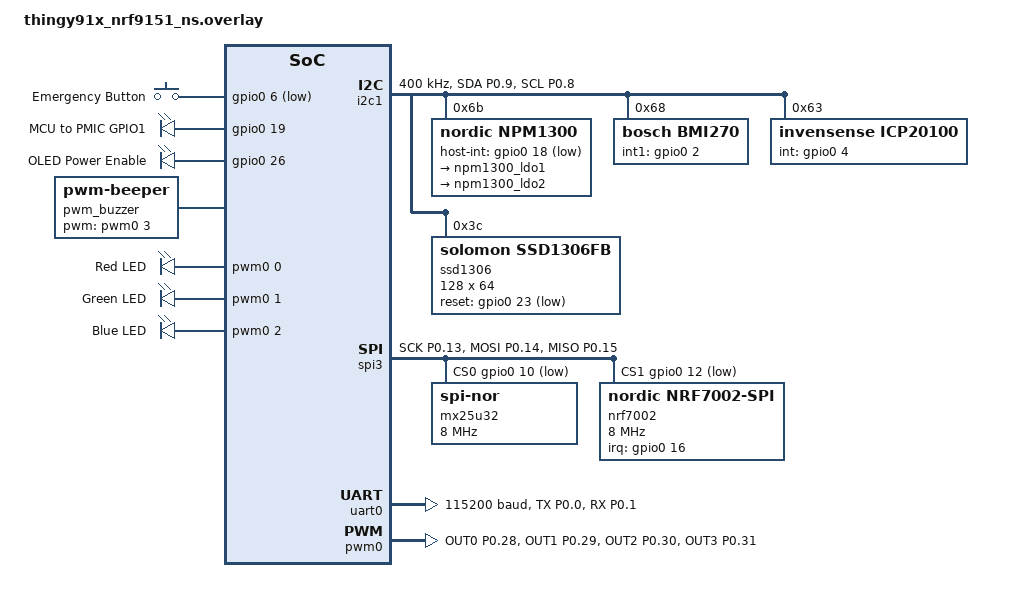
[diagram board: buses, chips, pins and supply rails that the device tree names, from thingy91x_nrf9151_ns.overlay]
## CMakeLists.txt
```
cmake_minimum_required(VERSION 3.20.0)

find_package(Zephyr REQUIRED HINTS $ENV{ZEPHYR_BASE})
project(bracelet_tracker)

# From your original: Include Zephyr net/ip headers
target_include_directories(app PUBLIC ${ZEPHYR_BASE}/subsys/net/ip)

# Our custom include directory for shared headers
zephyr_include_directories(src/include)


target_sources(app PRIVATE 
    src/main.c
    src/localization.c
    src/low_power_acl.c
    src/data_manager.c
    src/lte_service.c
)
```

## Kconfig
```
source "Kconfig.zephyr"

menu "Bracelet Tracker Settings"

config WIFI_MAC_ADDRESS
    string "WiFi MAC address"
    default "F6:CE:36:00:00:01"
    help
      Wi-Fi MAC address to be used by the sample. If not set, the sample will
      use the default MAC address (locally administrative). This is only used
      when the nRF7002 OTP is not programmed with a MAC address.

config WIFI_SCAN_INTERVAL_S
    int "Scan interval (seconds)"
    default 10
    help
      Specifies the scan interval in seconds.

config WIFI_SCAN_BANDS_LIST
    string "Frequency bands to scan"
    default "2" if WIFI_SCAN_PROFILE_2_4GHz_ACTIVE || WIFI_SCAN_PROFILE_2_4GHz_PASSIVE || WIFI_SCAN_PROFILE_2_4GHz_NON_OVERLAP_CHAN
    default "5" if WIFI_SCAN_PROFILE_5GHz_ACTIVE || WIFI_SCAN_PROFILE_5GHz_PASSIVE || WIFI_SCAN_PROFILE_5GHz_NON_DFS_CHAN
    default "2,5" if WIFI_SCAN_PROFILE_2_4GHz_NON_OVERLAP_AND_5GHz_NON_DFS_CHAN
    default ""
    help
      Specifies the frequency bands to scan.

config WIFI_SCAN_CHAN_LIST
    string "Channel list for scan"
    default "2:1,6,11" if WIFI_SCAN_PROFILE_2_4GHz_NON_OVERLAP_CHAN
    default "5:36,40,44,48,149,153,157,161,165" if WIFI_SCAN_PROFILE_5GHz_NON_DFS_CHAN
    default "2:1,6,11_5:36,40,44,48,149,153,157,161,165" if WIFI_SCAN_PROFILE_2_4GHz_NON_OVERLAP_AND_5GHz_NON_DFS_CHAN
    default ""
    help
      Specifies the list of channels used to perform scan.

config WIFI_SCAN_DWELL_TIME_ACTIVE
    int "Active scan dwell time"
    default 50
    range 5 1000

config WIFI_SCAN_DWELL_TIME_PASSIVE
    int "Passive scan dwell time"
    default 130
    range 10 1000

config WIFI_SCAN_TYPE_ACTIVE
    bool

config WIFI_SCAN_TYPE_PASSIVE
    bool

choice
    prompt "Choose a WiFi Scan Profile"

config WIFI_SCAN_PROFILE_DEFAULT
    bool "Scan in all bands and channels"

config WIFI_SCAN_PROFILE_ACTIVE
    bool "Active scan"
    select WIFI_SCAN_TYPE_ACTIVE

config WIFI_SCAN_PROFILE_PASSIVE
    bool "Passive scan"
    select WIFI_SCAN_TYPE_PASSIVE

config WIFI_SCAN_PROFILE_2_4GHz_ACTIVE
    bool "Scan in the 2.4 GHz band using active scan"
    select WIFI_SCAN_TYPE_ACTIVE

config WIFI_SCAN_PROFILE_2_4GHz_PASSIVE
    bool "Scan in the 2.4 GHz band using passive scan"
    select WIFI_SCAN_TYPE_PASSIVE

config WIFI_SCAN_PROFILE_5GHz_ACTIVE
    bool "Scan in the 5 GHz band using active scan"
    select WIFI_SCAN_TYPE_ACTIVE

config WIFI_SCAN_PROFILE_5GHz_PASSIVE
    bool "Scan in the 5 GHz band using passive scan"
    select WIFI_SCAN_TYPE_PASSIVE

config WIFI_SCAN_PROFILE_2_4GHz_NON_OVERLAP_CHAN
    bool "Scan only non-overlapping channels"

config WIFI_SCAN_PROFILE_5GHz_NON_DFS_CHAN
    bool "Scan only non-DFS channels"

config WIFI_SCAN_PROFILE_2_4GHz_NON_OVERLAP_AND_5GHz_NON_DFS_CHAN
    bool "Scan only non-overlapping and non-DFS channels"

endchoice

endmenu


menu "Communication with MQTT broker"

config MQTT_BOOTSTRAP_SECURITY_CODE
    string "MQTT bootstrap security code"
    default "987654"
    help
        Security code sent in the first MQTT message after the initial connect.

config MQTT_BOOTSTRAP_BATTERY
    int "MQTT bootstrap battery percentage"
    default 95
    range 0 100
    help
        Battery percentage sent in the first MQTT message after the initial connect.

config MQTT_PUB_TOPIC
    string "MQTT publish topic"
    default "bracelet/prototype_1/data" 
    help
        The prototype_1 will be replaced by a unique ID later.

config MQTT_SUB_TOPIC
    string "MQTT subscribe topic"
    default "bracelet/prototype_1/response"
    help
        Topic this device subscribes to in order to receive responses.

config MQTT_BROKER_HOSTNAME
    string "MQTT broker Azure Bracelet Server"
    default "20.251.201.46"


endmenu
```

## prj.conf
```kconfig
# ==========================================================
# SYSTEM, KERNEL & MEMORIES
# ==========================================================
CONFIG_HEAP_MEM_POOL_SIZE=81920         
CONFIG_MAIN_STACK_SIZE=8192
CONFIG_SYSTEM_WORKQUEUE_STACK_SIZE=8192 
CONFIG_EVENTS=y

# ==========================================================
# CONSOLE & LOGGING
# ==========================================================
CONFIG_SERIAL=y
CONFIG_CONSOLE=y
CONFIG_UART_CONSOLE=y
CONFIG_STDOUT_CONSOLE=y
CONFIG_PRINTK=y
CONFIG_LOG=y
CONFIG_LOG_MODE_IMMEDIATE=y

# Float printf for GNSS coordinate logging (picolibc is default on NCS v3.0.0)
CONFIG_PICOLIBC_IO_FLOAT=y

# ==========================================================
# ADXL367 HARDWARE ACTIVITY DETECTION
# ==========================================================
CONFIG_I2C=y
CONFIG_SENSOR=y
CONFIG_ADXL367=y
CONFIG_SENSOR_ASYNC_API=y
CONFIG_ADXL367_TRIGGER_GLOBAL_THREAD=y

CONFIG_ADXL367_ACTIVITY_DETECTION_MODE=y
CONFIG_ADXL367_INACTIVITY_DETECTION_MODE=n
CONFIG_ADXL367_ACTIVITY_THRESHOLD=50
CONFIG_ADXL367_ACTIVITY_TIME=10

# ==========================================================
# WI-FI & NATIVE NETWORKING STACK
# ==========================================================
CONFIG_SPI=y
CONFIG_WIFI=y
CONFIG_WIFI_NRF70=y
CONFIG_NET_L2_WIFI_MGMT=y

CONFIG_NETWORKING=y
CONFIG_NET_NATIVE=y
CONFIG_NET_L2_ETHERNET=y
CONFIG_NET_L2_ETHERNET_MGMT=y
CONFIG_NET_MGMT=y
CONFIG_NET_MGMT_EVENT_STACK_SIZE=4096

CONFIG_NET_PKT_RX_COUNT=10
CONFIG_NET_PKT_TX_COUNT=10
CONFIG_NET_BUF_RX_COUNT=20
CONFIG_NET_BUF_TX_COUNT=20

CONFIG_WIFI_SCAN_BANDS_LIST="2,5"
CONFIG_WIFI_SCAN_INTERVAL_S=15

# ==========================================================
# LTE MODEM & SOCKET OFFLOADING 
# ==========================================================
CONFIG_NRF_MODEM_LIB=y
CONFIG_LTE_LINK_CONTROL=y
CONFIG_LTE_NETWORK_MODE_LTE_M_NBIOT_GPS=y
# Trying to avoid the conexa sim card getting banned:
CONFIG_PDN=y
CONFIG_PDN_DEFAULTS_OVERRIDE=y
CONFIG_PDN_DEFAULT_APN="flolive.net"

# GNSS support
CONFIG_MODEM_INFO=y

CONFIG_NET_SOCKETS=y
CONFIG_POSIX_API=y
CONFIG_NET_SOCKETS_OFFLOAD=y
CONFIG_MODEM_ANTENNA_GNSS_EXTERNAL=y


# ==========================================================
# MQTT HELPER 
# ==========================================================
CONFIG_MQTT_HELPER=y
CONFIG_MQTT_CLEAN_SESSION=y
# Needed because mqtt runs on TCP and we need to send heartbeat, must be not extremly rare so that the lte carrier doesn't drop our tcp connection
CONFIG_MQTT_KEEPALIVE=1200

# ==========================================================
# DIAGNOSTICS: LOGGING SETTINGS
# ==========================================================
CONFIG_NET_LOG=y
CONFIG_WIFI_LOG_LEVEL_INF=y
CONFIG_WIFI_NRF70_LOG_LEVEL_INF=y
```

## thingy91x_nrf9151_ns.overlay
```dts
&pinctrl {
    /* UART0: TX=P0.00, RX=P0.01 */
    uart0_default: uart0_default {
        group1 {
            psels = <NRF_PSEL(UART_TX, 0, 0)>,
                    <NRF_PSEL(UART_RX, 0, 1)>;
        };
    };

    /* I2C: SCL=P0.08, SDA=P0.09 */
    i2c1_default: i2c1_default {
        group1 {
            psels = <NRF_PSEL(TWIM_SDA, 0, 9)>,
                    <NRF_PSEL(TWIM_SCL, 0, 8)>;
        };
    };

    /* SPI: SCK=P0.13, MOSI=P0.14, MISO=P0.15 */
    spi3_default: spi3_default {
        group1 {
            psels = <NRF_PSEL(SPIM_SCK, 0, 13)>,
                    <NRF_PSEL(SPIM_MOSI, 0, 14)>,
                    <NRF_PSEL(SPIM_MISO, 0, 15)>;
        };
    };

    /* PWM for RGB LED & Buzzer */
    pwm0_default: pwm0_default {
        group1 {
            /* RED=P0.28, GREEN=P0.29, BLUE=P0.30, BUZZER=P0.31 */
            psels = <NRF_PSEL(PWM_OUT0, 0, 28)>,
                    <NRF_PSEL(PWM_OUT1, 0, 29)>,
                    <NRF_PSEL(PWM_OUT2, 0, 30)>,
                    <NRF_PSEL(PWM_OUT3, 0, 31)>;
        };
    };
};

&i2c1 {
    status = "okay";
    pinctrl-0 = <&i2c1_default>;
    pinctrl-names = "default";
    clock-frequency = <I2C_BITRATE_FAST>;

    /* nPM1300 PMIC */
    npm1300: pmic@6b {
        compatible = "nordic,npm1300";
        reg = <0x6b>;
        
        /* MCU P0.18 is wired to PMIC GPIO0. This acts as the Host Interrupt */
        host-int-gpios = <&gpio0 18 (GPIO_ACTIVE_LOW | GPIO_PULL_UP)>;
        
        npm1300_regulators: regulators {
            compatible = "nordic,npm1300-regulator";
            
            /* LSOUT1 (Pin 29) powers the Wi-Fi Enable */
            npm1300_ldo1: LDO1 {
                regulator-name = "nRF7002_ENABLE";
            };
            
            /* LSOUT2 (Pin 31) powers the BMI270 IMU */
            npm1300_ldo2: LDO2 {
                regulator-name = "VIN_BMI270";
            };
        };
    };

    /* Bosch BMI270 IMU */
    bmi270: bmi270@68 {
        compatible = "bosch,bmi270";
        reg = <0x68>;
        int1-gpios = <&gpio0 2 GPIO_ACTIVE_HIGH>; 
    };

    /* TDK Barometer */
    icp20100: icp20100@63 {
        compatible = "invensense,icp20100";
        reg = <0x63>; 
        int-gpios = <&gpio0 4 GPIO_ACTIVE_HIGH>;
    };

    /* OLED Display */
    ssd1306: ssd1306@3c {
        compatible = "solomon,ssd1306fb";
        reg = <0x3c>; 
        width = <128>;
        height = <64>;
        segment-offset = <0>;
        page-offset = <0>;
        display-offset = <0>;
        multiplex-ratio = <63>;
        prechargep = <0x22>;
        reset-gpios = <&gpio0 23 GPIO_ACTIVE_LOW>; 
    };
};

&spi3 {
    status = "okay";
    pinctrl-0 = <&spi3_default>;
    pinctrl-names = "default";
    
    cs-gpios = <&gpio0 10 GPIO_ACTIVE_LOW>,
               <&gpio0 12 GPIO_ACTIVE_LOW>;

    /* NOR Flash (32Mb) */
    mx25u32: flash@0 {
        compatible = "jedec,spi-nor";
        reg = <0>; 
        spi-max-frequency = <8000000>;
        size = <33554432>;
        jedec-id = [c2 25 36];
    };
    
    /* Wi-Fi Companion (nRF7002) */
    nrf7002: wifi@1 {
        compatible = "nordic,nrf7002-spi";
        reg = <1>; 
        /* bucken-gpios removed: Wi-Fi enable is handled by PMIC LDO1 */
        irq-gpios = <&gpio0 16 GPIO_ACTIVE_HIGH>;
        spi-max-frequency = <8000000>;
    };
};

/ {
    aliases {
        sw0 = &button_em;
        buzzer = &pwm_buzzer;
        led0 = &led_red;
        led1 = &led_green;
        led2 = &led_blue;
        pmic-gpio1 = &mcu_to_pmic_gpio1;
    };

    buttons {
        compatible = "gpio-keys";
        button_em: button_0 {
            gpios = <&gpio0 6 (GPIO_PULL_UP | GPIO_ACTIVE_LOW)>;
            label = "Emergency Button";
        };
    };

    /* Custom Routing */
    custom_gpios {
        compatible = "gpio-leds"; 
        
        /* MCU P0.19 wired to PMIC GPIO1 */
        mcu_to_pmic_gpio1: mcu_to_pmic_gpio1 {
            gpios = <&gpio0 19 GPIO_ACTIVE_HIGH>;
            label = "MCU to PMIC GPIO1";
        };
    };

    /* Display Power Control Pin */
    display_ctrl {
        compatible = "gpio-leds"; 
        disp_power_en: disp_power_en {
            gpios = <&gpio0 26 GPIO_ACTIVE_HIGH>; 
            label = "OLED Power Enable";
        };
    };

    /* Buzzer PWM routing */
    pwm_buzzer: pwm_buzzer {
        compatible = "pwm-beeper";
        pwms = <&pwm0 3 PWM_HZ(4000) PWM_POLARITY_NORMAL>; 
    };

    pwmleds {
        compatible = "pwm-leds";
        led_red: led_pwm_0 {
            pwms = <&pwm0 0 PWM_MSEC(20) PWM_POLARITY_NORMAL>;
            label = "Red LED";
        };
        led_green: led_pwm_1 {
            pwms = <&pwm0 1 PWM_MSEC(20) PWM_POLARITY_NORMAL>;
            label = "Green LED";
        };
        led_blue: led_pwm_2 {
            pwms = <&pwm0 2 PWM_MSEC(20) PWM_POLARITY_NORMAL>;
            label = "Blue LED";
        };
    };
};

/* Enable UART0 */
&uart0 {
    status = "okay";
    pinctrl-0 = <&uart0_default>;
    pinctrl-names = "default";
    current-speed = <115200>;
};

/* Enable PWM0 */
&pwm0 {
    status = "okay";
    pinctrl-0 = <&pwm0_default>;
    pinctrl-names = "default";
};
```

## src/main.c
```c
#include <zephyr/kernel.h>
#include <zephyr/logging/log.h>
#include <stdio.h>
#include <string.h>

#include "data_manager.h"
#include "lte_service.h" 

LOG_MODULE_REGISTER(main_app, LOG_LEVEL_INF);

extern int low_power_acl_init(void);

int main(void)
{
    LOG_INF("=== Bracelet Tracker Booting ===");
    
    if (lte_mqtt_init() != 0) {
        LOG_ERR("LTE/MQTT Initialization failed! Halting.");
        return -1;
    }

    if (low_power_acl_init() != 0) {
        LOG_ERR("Interrupt setup failed!");
    } else {
        LOG_INF("Interrupt setup SUCCESSFUL! Waiting for movement...");
    }

    struct location_msg_t rx_msg;
    char json_payload[1024]; 

    while (1) {
        if (k_msgq_get(&location_queue, &rx_msg, K_FOREVER) == 0) {
            memset(json_payload, 0, sizeof(json_payload));
            
            if (rx_msg.type == LOC_TYPE_WIFI) {
                int offset = snprintf(json_payload, sizeof(json_payload), "{\"wifi\":{\"accessPoints\":[");
                for (int i = 0; i < rx_msg.data.wifi.count; i++) {
                    const char *comma = (i == rx_msg.data.wifi.count - 1) ? "" : ",";
                    offset += snprintf(json_payload + offset, sizeof(json_payload) - offset,
                                       "{\"macAddress\":\"%s\",\"signalStrength\":%d}%s",
                                       rx_msg.data.wifi.aps[i].mac, rx_msg.data.wifi.aps[i].rssi, comma);
                }
                snprintf(json_payload + offset, sizeof(json_payload) - offset, "]}}");
            } 
            else if (rx_msg.type == LOC_TYPE_GNSS) {
                snprintf(json_payload, sizeof(json_payload), 
                         "{\"gnss\":{\"lat\":%.6f,\"lng\":%.6f,\"acc\":%.1f}}",
                         rx_msg.data.gnss.lat, rx_msg.data.gnss.lon, rx_msg.data.gnss.accuracy);
            }
            else if (rx_msg.type == LOC_TYPE_CELL) {
                snprintf(json_payload, sizeof(json_payload),
                         "{\"lte\":{\"mcc\":%d,\"mnc\":%d,\"cellId\":%d,\"areaCode\":%d}}",
                         rx_msg.data.cell.mcc, rx_msg.data.cell.mnc, 
                         rx_msg.data.cell.cell_id, rx_msg.data.cell.area_code);
            }

            //LOG_INF("Publishing Location Payload: %s", json_payload);
            lte_mqtt_publish_str(json_payload);
        }
    }
    return 0;
}
```

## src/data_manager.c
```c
#include <zephyr/kernel.h>
#include <zephyr/logging/log.h>
#include <string.h>

#include "data_manager.h"

LOG_MODULE_REGISTER(data_manager, LOG_LEVEL_INF);

/* Generic location queue for Wi-Fi, GNSS, or Cell data */
K_MSGQ_DEFINE(location_queue, sizeof(struct location_msg_t), 5, 4);

void data_manager_send_wifi(struct ap_data_t *aps, uint8_t count)
{
    struct location_msg_t msg;

    msg.type = LOC_TYPE_WIFI;
    msg.data.wifi.count = count;

    for (int i = 0; i < count; i++) {
        strncpy(msg.data.wifi.aps[i].mac, aps[i].mac, sizeof(msg.data.wifi.aps[i].mac) - 1);
        msg.data.wifi.aps[i].mac[sizeof(msg.data.wifi.aps[i].mac) - 1] = '\0';
        msg.data.wifi.aps[i].rssi = aps[i].rssi;
    }

    if (k_msgq_put(&location_queue, &msg, K_NO_WAIT) != 0) {
        LOG_WRN("Location queue full! Dropping Wi-Fi data.");
    }
}

void data_manager_send_gnss(double lat, double lon, float accuracy)
{
    struct location_msg_t msg;
    
    msg.type = LOC_TYPE_GNSS;
    msg.data.gnss.lat = lat;
    msg.data.gnss.lon = lon;
    msg.data.gnss.accuracy = accuracy;

    if (k_msgq_put(&location_queue, &msg, K_NO_WAIT) != 0) {
        LOG_WRN("Location queue full! Dropping GNSS data.");
    }
}

void data_manager_send_cell(uint16_t mcc, uint16_t mnc, uint32_t cell_id, uint16_t area_code)
{
    struct location_msg_t msg;

    msg.type = LOC_TYPE_CELL;
    msg.data.cell.mcc = mcc;
    msg.data.cell.mnc = mnc;
    msg.data.cell.cell_id = cell_id;
    msg.data.cell.area_code = area_code;

    if (k_msgq_put(&location_queue, &msg, K_NO_WAIT) != 0) {
        LOG_WRN("Location queue full! Dropping Cell data.");
    }
}
```

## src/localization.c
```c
#include <zephyr/kernel.h>
#include <zephyr/logging/log.h>
#include <zephyr/net/net_if.h>
#include <zephyr/net/wifi_mgmt.h>
#include <nrf_modem_gnss.h>
#include <modem/modem_info.h>
#include <modem/lte_lc.h>
#include <stdio.h>
#include <string.h>

#include <stdlib.h>

#include "app_events.h"
#include "data_manager.h"

LOG_MODULE_REGISTER(localization, LOG_LEVEL_INF);

/* Synchronization primitives */
static K_SEM_DEFINE(wifi_scan_sem, 0, 1);
static K_SEM_DEFINE(gnss_fix_sem, 0, 1);

/* Wi-Fi scan results storage */
static struct ap_data_t best_aps[MAX_APS_PER_SCAN];
static uint8_t current_ap_count = 0;

/* GNSS storage */
static struct nrf_modem_gnss_pvt_data_frame last_pvt;
static bool gnss_has_fix = false;

/* --- WiFi Handlers --- */
static void handle_wifi_scan_result(struct net_mgmt_event_callback *cb)
{
    const struct wifi_scan_result *entry = (const struct wifi_scan_result *)cb->info;
    char mac_string_buf[18];

    snprintf(mac_string_buf, sizeof(mac_string_buf), "%02X:%02X:%02X:%02X:%02X:%02X",
             entry->mac[0], entry->mac[1], entry->mac[2], 
             entry->mac[3], entry->mac[4], entry->mac[5]);

    for (int i = 0; i < current_ap_count; i++) {
        if (strcmp(best_aps[i].mac, mac_string_buf) == 0) return;
    }

    if (current_ap_count < MAX_APS_PER_SCAN) {
        strcpy(best_aps[current_ap_count].mac, mac_string_buf);
        best_aps[current_ap_count].rssi = entry->rssi;
        current_ap_count++;
    } else {
        int weakest_idx = 0;
        for (int i = 1; i < MAX_APS_PER_SCAN; i++) {
            if (best_aps[i].rssi < best_aps[weakest_idx].rssi) weakest_idx = i;
        }
        if (entry->rssi > best_aps[weakest_idx].rssi) {
            strcpy(best_aps[weakest_idx].mac, mac_string_buf);
            best_aps[weakest_idx].rssi = entry->rssi;
        }
    }
}

static void handle_wifi_scan_done(struct net_mgmt_event_callback *cb)
{
    k_sem_give(&wifi_scan_sem);
}

static void wifi_mgmt_event_handler(struct net_mgmt_event_callback *cb, uint32_t mgmt_event, struct net_if *iface)
{
    if (mgmt_event == NET_EVENT_WIFI_SCAN_RESULT) {
        handle_wifi_scan_result(cb);
    } else if (mgmt_event == NET_EVENT_WIFI_SCAN_DONE) {
        handle_wifi_scan_done(cb);
    }
}

/* --- GNSS Handler --- */
/* GNSS event handler — called by the modem on every GNSS event */
static void gnss_event_handler(int event)
{
    switch (event) {

    case NRF_MODEM_GNSS_EVT_PVT:
        /* Read the latest PVT data from the modem into our buffer */
        if (nrf_modem_gnss_read(&last_pvt, sizeof(last_pvt), NRF_MODEM_GNSS_DATA_PVT) != 0) {
            LOG_ERR("Failed to read GNSS PVT data");
            return;
        }

        /* Count visible satellites and log their signal strength (CN0) */
        int svs_tracked = 0;
        for (int i = 0; i < NRF_MODEM_GNSS_MAX_SATELLITES; i++) {
            /* signal != 0 means this slot contains a real satellite */
            if (last_pvt.sv[i].signal != 0) {
                LOG_INF("  SV: %2d | CN0: %4.1f dB-Hz | Signal type: %d",
                        last_pvt.sv[i].sv,
                        last_pvt.sv[i].cn0 * 0.1,   /* CN0 is stored as tenths of dB-Hz */
                        last_pvt.sv[i].signal);
                svs_tracked++;
            }
        }
        LOG_INF("Satellites tracked: %d (need 4+ for a fix)", svs_tracked);

        /* Check if the modem has computed a valid position fix */
        if (last_pvt.flags & NRF_MODEM_GNSS_PVT_FLAG_FIX_VALID) {
            LOG_INF(">>> FIX ACQUIRED! Lat: %.6f, Lon: %.6f, Acc: %.1f m",
                    last_pvt.latitude,
                    last_pvt.longitude,
                    (double)last_pvt.accuracy);
            gnss_has_fix = true;
            /* Unblock the do_gnss_fix() thread that is waiting on this semaphore */
            k_sem_give(&gnss_fix_sem);
        }
        break;

    default:
        LOG_WRN("GNSS Event: Unknown event id %d", event);
        break;
    }
}

/* 
    WI-FI Scannning process starts here, takes a semaphore that is released 
    once the module confirms through a message the process succeeded in the handle_wifi_scan_done
*/
static int do_wifi_scan(void)
{
    struct net_if *iface = net_if_get_default();
    if (!iface) return -ENOENT;

    current_ap_count = 0;
    struct wifi_scan_params params = { .scan_type = WIFI_SCAN_TYPE_ACTIVE, .dwell_time_active = 50 };

    if (net_mgmt(NET_REQUEST_WIFI_SCAN, iface, &params, sizeof(params))) {
        return -EIO;
    }

    k_sem_take(&wifi_scan_sem, K_SECONDS(10));
    return current_ap_count;
}

/* 
    GNSS fix process starts here. 
*/
static int do_gnss_fix(void)
{
    gnss_has_fix = false;
    nrf_modem_gnss_event_handler_set(gnss_event_handler);

    /* Power down Wi-Fi before GNSS — RF interference degrades signal */
    struct net_if *wifi_iface = net_if_get_default();
    if (wifi_iface) {
        net_if_down(wifi_iface);
    }

    /* Deactivate LTE so GNSS can have the RF front-end */
    if (lte_lc_func_mode_set(LTE_LC_FUNC_MODE_DEACTIVATE_LTE) != 0) {
        LOG_ERR("Failed to deactivate LTE");
        return -EIO;
    }

    /* EXPLICITLY activate GNSS */
    if (lte_lc_func_mode_set(LTE_LC_FUNC_MODE_ACTIVATE_GNSS) != 0) {
        LOG_ERR("Failed to activate GNSS functional mode");
        return -EIO;
    }

    nrf_modem_gnss_fix_interval_set(0);    // single-fix mode
    nrf_modem_gnss_fix_retry_set(180);     // 180s hardware timeout

    if (nrf_modem_gnss_start() != 0) {
        LOG_ERR("Failed to start GNSS");
        return -EIO;
    }

    LOG_INF("GNSS started, searching for fix...");

    int res = k_sem_take(&gnss_fix_sem, K_SECONDS(180));

    nrf_modem_gnss_stop();

    /* Deactivate GNSS cleanly before restoring LTE */
    lte_lc_func_mode_set(LTE_LC_FUNC_MODE_DEACTIVATE_GNSS);

    /* Restore LTE */
    lte_lc_func_mode_set(LTE_LC_FUNC_MODE_NORMAL);

    /* Restore Wi-Fi */
    if (wifi_iface) {
        net_if_up(wifi_iface);
    }

    return (res == 0) ? 0 : -ETIMEDOUT;
}

/*
    Last-Resort we can approximate location with LTE cell towers. (if gnss cannot find a fix in 180 seconds)
*/
static void do_lte_cell_id(void)
{
    struct modem_param_info modem_param = {0};  // storage for modem internal parameters
    modem_info_init();                          // initialize the modem info library
    modem_info_params_init(&modem_param);       // Initialize the parameter structure
    modem_info_params_get(&modem_param);        // Ask modem for network status tokens

    // The collected tower id's will be sent to cloud: MCC = Country Code, MNC = Network Code, cellid and area_code
    char *cellid_str = modem_param.network.cellid_hex.value_string;
    uint32_t cell_id_val = (cellid_str != NULL && strlen(cellid_str) > 0) ? strtol(cellid_str, NULL, 16) : 0;

    data_manager_send_cell(modem_param.network.mcc.value, 
                           modem_param.network.mnc.value, 
                           cell_id_val, 
                           modem_param.network.area_code.value);
}

void localization_thread(void *p1, void *p2, void *p3)
{
    static struct net_mgmt_event_callback wifi_cb;                  // registers a Wi-Fi callback so we can collect the wi fi scan results
    
    net_mgmt_init_event_callback(&wifi_cb, wifi_mgmt_event_handler, 
                                 NET_EVENT_WIFI_SCAN_RESULT | NET_EVENT_WIFI_SCAN_DONE);
    net_mgmt_add_event_callback(&wifi_cb);

    LOG_INF("Integrated Localization Thread Started");

    while (1) {
        k_event_wait(&app_events, EVENT_USER_MOVING, false, K_FOREVER); // Block here until the user is moving 
        
        LOG_INF("Motion detected! Starting localization waterfall...");

        /* 1. Try Wi-Fi */
        int aps = do_wifi_scan();
        if (aps >= 5) {           // Enough to make the wi fi scan worth trying 
            LOG_INF("Wi-Fi sufficient (%d APs). Sending...", aps);
            int  retries = 2;      
            bool wifi_resolved = false;  // true when the server actually processes and responds
            bool wifi_successful = false; // true when the server confirms it worked

            while (retries > 0 && !wifi_resolved) {
                /* Clear any stale server response bits from previous runs */
                k_event_clear(&app_events,
                              EVENT_SERVER_WIFI_SUCCESS | EVENT_SERVER_WIFI_FAIL);

                data_manager_send_wifi(best_aps, aps);

                /* Block up to 10 seconds waiting for the server’s verdict.
                 * The LTE/MQTT layer will set EVENT_SERVER_WIFI_SUCCESS or
                 * EVENT_SERVER_WIFI_FAIL when it receives "wifi_successful"
                 * or "wifi_failed" on the subscribed topic.
                 */
                uint32_t events = k_event_wait(
                    &app_events,
                    EVENT_SERVER_WIFI_SUCCESS | EVENT_SERVER_WIFI_FAIL,
                    false,
                    K_SECONDS(10));

                if (events & EVENT_SERVER_WIFI_SUCCESS) {
                    wifi_successful = true;
                    wifi_resolved   = true;
                } else if (events & EVENT_SERVER_WIFI_FAIL) {
                    wifi_successful = false;
                    wifi_resolved   = true;
                } else {
                    /* Timeout: no response within 10 seconds */
                    retries--;
                    if (retries > 0) {
                        LOG_INF("Server response timeout. Retrying Wi-Fi send...");
                    }
                }
            }

            if (wifi_successful) {
                LOG_INF("Server confirmed Wi-Fi localization -> Ending pipeline.");
            } else {
            LOG_INF("Wi-Fi failed or timed out, attempting GNSS...");
            
            /* 2. Try GNSS */
            if (do_gnss_fix() == 0) {
                LOG_INF("GNSS Fix obtained!");
                data_manager_send_gnss(last_pvt.latitude, last_pvt.longitude, last_pvt.accuracy);
            } else {
                LOG_INF("GNSS Timeout. Falling back to LTE Cell ID...");
                
                /* 3. Try LTE Cell ID */
                do_lte_cell_id();
            }
        }
    }

        k_sleep(K_SECONDS(30)); /* Cooldown */
    }
}

K_THREAD_DEFINE(loc_thread_id, 4096, localization_thread, NULL, NULL, NULL, 7, 0, 0);
```

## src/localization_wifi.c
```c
#include <zephyr/kernel.h>
#include <zephyr/logging/log.h>
#include <zephyr/net/net_if.h>
#include <zephyr/net/net_core.h>
#include <zephyr/net/wifi_mgmt.h>
#include <stdio.h>
#include <string.h>

#include "app_events.h"    
#include "data_manager.h"  

LOG_MODULE_REGISTER(wifi_module, LOG_LEVEL_INF);

static struct net_mgmt_event_callback wifi_mgmt_cb;
static K_SEM_DEFINE(scan_sem, 0, 1);

/* Buffer for our Top 10 strongest networks */
static struct ap_data_t best_aps[MAX_APS_PER_SCAN];
static uint8_t current_ap_count = 0;

static void handle_wifi_scan_result(struct net_mgmt_event_callback *cb)
{
    const struct wifi_scan_result *entry = (const struct wifi_scan_result *)cb->info;
    char mac_string_buf[18];

    /* Format MAC address safely */
    snprintf(mac_string_buf, sizeof(mac_string_buf), "%02X:%02X:%02X:%02X:%02X:%02X",
             entry->mac[0], entry->mac[1], entry->mac[2], 
             entry->mac[3], entry->mac[4], entry->mac[5]);

    /* Check if we already have this exact MAC address (rare, but good to filter) */
    for (int i = 0; i < current_ap_count; i++) {
        if (strcmp(best_aps[i].mac, mac_string_buf) == 0) {
            return; 
        }
    }

    /* If array isn't full, just add it */
    if (current_ap_count < MAX_APS_PER_SCAN) {
        strcpy(best_aps[current_ap_count].mac, mac_string_buf);
        best_aps[current_ap_count].rssi = entry->rssi;
        current_ap_count++;
    } 
    /* If array is full, find the weakest network and replace it if this one is stronger */
    else {
        int weakest_idx = 0;
        for (int i = 1; i < MAX_APS_PER_SCAN; i++) {
            if (best_aps[i].rssi < best_aps[weakest_idx].rssi) {
                weakest_idx = i;
            }
        }
        if (entry->rssi > best_aps[weakest_idx].rssi) {
            strcpy(best_aps[weakest_idx].mac, mac_string_buf);
            best_aps[weakest_idx].rssi = entry->rssi;
        }
    }
}

static void handle_wifi_scan_done(struct net_mgmt_event_callback *cb)
{
    LOG_INF("Scan complete! Sending top %d networks to cloud...", current_ap_count);
    
    if (current_ap_count > 0) {
        data_manager_send_wifi_batch(best_aps, current_ap_count);
    }
    
    k_sem_give(&scan_sem);
}

static void wifi_mgmt_event_handler(struct net_mgmt_event_callback *cb, uint64_t mgmt_event, struct net_if *iface)
{
    if (mgmt_event == NET_EVENT_WIFI_SCAN_RESULT) {
        handle_wifi_scan_result(cb);
    } else if (mgmt_event == NET_EVENT_WIFI_SCAN_DONE) {
        handle_wifi_scan_done(cb);
    }
}

static int wifi_scan(void)
{
    struct net_if *iface = net_if_get_default();
    if (!iface) iface = net_if_get_first_by_type(&NET_L2_GET_NAME(ETHERNET));
    if (!iface) iface = net_if_get_by_index(1); 

    if (!iface) {
        LOG_ERR("WiFi interface not found!");
        return -ENOENT;
    }

    if (!net_if_is_up(iface)) {
        net_if_up(iface);
        k_sleep(K_MSEC(500)); 
    }

    struct wifi_scan_params params = { 0 };
    params.scan_type = WIFI_SCAN_TYPE_ACTIVE;
    params.dwell_time_active = 50;  

    /* CRITICAL: Reset the counter before starting a new scan! */
    current_ap_count = 0;

    LOG_INF("Starting WiFi scan...");
    if (net_mgmt(NET_REQUEST_WIFI_SCAN, iface, &params, sizeof(struct wifi_scan_params))) {
        LOG_ERR("WiFi scan request failed");
        return -ENOEXEC;
    }

    k_sem_take(&scan_sem, K_FOREVER);
    return 0;
}

void wifi_thread_entry(void *p1, void *p2, void *p3)
{
    LOG_INF("WiFi Scanner Thread Initialized");

    net_mgmt_init_event_callback(&wifi_mgmt_cb, wifi_mgmt_event_handler, 
                                 NET_EVENT_WIFI_SCAN_RESULT | NET_EVENT_WIFI_SCAN_DONE);
    net_mgmt_add_event_callback(&wifi_mgmt_cb);

    while (1) {
        k_event_wait(&app_events, EVENT_USER_MOVING, false, K_FOREVER);
        wifi_scan();
        k_sleep(K_SECONDS(10));
    }
}

K_THREAD_DEFINE(wifi_thread_id, 2048, wifi_thread_entry, NULL, NULL, NULL, 6, 0, 0);
```

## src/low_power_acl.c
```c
#include <zephyr/kernel.h>
#include <zephyr/device.h>
#include <zephyr/drivers/sensor.h>
#include <zephyr/logging/log.h>

#include "app_events.h"

LOG_MODULE_REGISTER(low_power_acl, LOG_LEVEL_INF);

/* The global event object that the WiFi thread listens to */
K_EVENT_DEFINE(app_events);

#define INACTIVITY_TIMEOUT_S 30

static void inactivity_timer_handler(struct k_timer *timer_id);
K_TIMER_DEFINE(inactivity_timer, inactivity_timer_handler, NULL);

/* CRITICAL FIX: The trigger struct MUST be static so it survives in memory forever! */
static struct sensor_trigger trig;

/* 1. Timer expires -> User is asleep -> Clear flag */
static void inactivity_timer_handler(struct k_timer *timer_id)
{
    LOG_INF("No movement for %d seconds. System going to sleep...", INACTIVITY_TIMEOUT_S);
    k_event_clear(&app_events, EVENT_USER_MOVING);
}

/* 2. Hardware interrupt fires -> User is moving -> Set flag */
static void adxl367_trigger_handler(const struct device *dev, const struct sensor_trigger *trigger)
{
    /* Since we fixed the memory pointer, we don't even need to check the trigger type. 
     * If this function runs, we know the ADXL367 physical pin fired! 
     */
    uint32_t current_state = k_event_test(&app_events, EVENT_USER_MOVING);

    /* If the system was asleep, wake it up! */
    if ((current_state & EVENT_USER_MOVING) == 0) {
        LOG_INF("Movement detected! Waking system...");
        k_event_post(&app_events, EVENT_USER_MOVING);
    }

    /* Every time we move, reset the 30-second sleep timer */
    k_timer_start(&inactivity_timer, K_SECONDS(INACTIVITY_TIMEOUT_S), K_NO_WAIT);
}

/* 3. Setup function called by main.c */
int low_power_acl_init(void)
{
    const struct device *const dev = DEVICE_DT_GET_ONE(adi_adxl367);
    if (!device_is_ready(dev)) {
        LOG_ERR("ADXL367 is not ready! Check Devicetree.");
        return -ENODEV;
    }

    /* Configure our permanent static trigger */
    trig.type = SENSOR_TRIG_THRESHOLD;
    trig.chan = SENSOR_CHAN_ACCEL_XYZ;

    if (sensor_trigger_set(dev, &trig, adxl367_trigger_handler) < 0) {
        LOG_ERR("Could not set ADXL367 trigger!");
        return -EIO;
    }

    LOG_INF("ADXL367 Hardware Watchdog armed!");
    return 0;
}
```

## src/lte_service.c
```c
#include <zephyr/kernel.h>              
#include <zephyr/logging/log.h>         
#include <stdio.h>
#include <string.h>                     

#include <modem/nrf_modem_lib.h> 
#include <modem/lte_lc.h>        
#include <net/mqtt_helper.h> 

#include "lte_service.h"
#include "app_events.h"

LOG_MODULE_REGISTER(lte_service, LOG_LEVEL_INF);

#ifndef CONFIG_MQTT_BOOTSTRAP_SECURITY_CODE
#define CONFIG_MQTT_BOOTSTRAP_SECURITY_CODE "987654"
#endif

#ifndef CONFIG_MQTT_BOOTSTRAP_BATTERY
#define CONFIG_MQTT_BOOTSTRAP_BATTERY 95
#endif

static K_SEM_DEFINE(lte_connected, 0, 1);               
static K_SEM_DEFINE(mqtt_connected_sem, 0, 1);
static bool mqtt_is_connected = false;
static bool bootstrap_message_sent = false;

#define CLIENT_ID_LEN sizeof("prototype_1")
static uint8_t client_id[CLIENT_ID_LEN] = "prototype_1";

// This is the topic we will subscribe to, defined in KConfig
static struct mqtt_topic sub_topic = {
    .topic = {
        .utf8 = (uint8_t *)CONFIG_MQTT_SUB_TOPIC,
        .size = strlen(CONFIG_MQTT_SUB_TOPIC),
    },
    .qos = MQTT_QOS_1_AT_LEAST_ONCE,
};

// This is the list of topics which is expected by the mqtt_helper_subscribe() function
static struct mqtt_subscription_list sub_list = {
    .list       = &sub_topic,
    .list_count = 1,
    .message_id = 1,   // any non-zero ID is fine for testing
};

static void lte_handler(const struct lte_lc_evt *const evt)
{
     switch (evt->type) {
     case LTE_LC_EVT_NW_REG_STATUS:
        if ((evt->nw_reg_status == LTE_LC_NW_REG_REGISTERED_HOME) ||
            (evt->nw_reg_status == LTE_LC_NW_REG_REGISTERED_ROAMING)) {
            
            LOG_INF("Connected to LTE network!");
            k_sem_give(&lte_connected);
            
        } else if (evt->nw_reg_status == LTE_LC_NW_REG_REGISTRATION_DENIED) {
            LOG_ERR("Network rejected us! Turning off modem to prevent FPLMN lock.");
            
            // Turn off the modem to stop it from spamming towers
            lte_lc_offline(); 
            
            // Wait 2 minutes before trying again (allowing network bans to clear)
            LOG_INF("Waiting 2 minutes before trying again to allow network bans to clear.");
            k_sleep(K_MINUTES(2)); 
            lte_lc_normal(); 
        }
        break;
     default:
             break;
     }
}

static void on_mqtt_connack(enum mqtt_conn_return_code return_code, bool session_present)
{
    if (return_code == MQTT_CONNECTION_ACCEPTED) {
        LOG_INF("Connected to MQTT broker");
        LOG_INF("Client ID: %s", client_id);
        mqtt_is_connected = true;
        k_sem_give(&mqtt_connected_sem);
    } else {
        LOG_WRN("Connection to broker not established, return_code: %d", return_code);
    }
}

static void on_mqtt_disconnect(int result)
{
    LOG_INF("MQTT client disconnected: %d", result);
    mqtt_is_connected = false;
}

// This is called when the Broker publishes a message on the topic(s) we are subscribed to, not that intuitive naming I know
static void on_mqtt_publish(struct mqtt_helper_buf topic,
                            struct mqtt_helper_buf payload)
{
    /* Log raw payload and topic for debugging */
    LOG_INF("MQTT RX: %.*s  |  topic: %.*s",
            payload.size, payload.ptr,
            topic.size, topic.ptr);

    /* Copy payload into a null-terminated buffer */
    char buf[64];
    size_t len = MIN((size_t)payload.size, sizeof(buf) - 1);
    memcpy(buf, payload.ptr, len);
    buf[len] = '\0';

    //LOG_INF("MQTT RX (parsed): %s", buf);

    /* Map payload to app_events for localization.c */
    if (strcmp(buf, "wifi_successful") == 0) {
        LOG_INF("Server says Wi-Fi localization SUCCESS");
        k_event_post(&app_events, EVENT_SERVER_WIFI_SUCCESS);
    } else if (strcmp(buf, "wifi_failed") == 0) {
        LOG_INF("Server says Wi-Fi localization FAILED");
        k_event_post(&app_events, EVENT_SERVER_WIFI_FAIL);
    } else {
        LOG_WRN("Unknown Wi-Fi response payload: %s", buf);
    }
}

static int mqtt_ensure_connected(void)
{
    if (mqtt_is_connected) {
        return 0; // Already connected
    }

    // This is expected to happen after every gnss fix because gnss turns off the LTE antenna
    LOG_INF("MQTT is not connected. Attempting reconnection...");
    
    // This first part checks if lte was down and waits until lte is reconnected
    enum lte_lc_nw_reg_status reg_status;
    int err = lte_lc_nw_reg_status_get(&reg_status);
    
    if (err == 0 && (reg_status != LTE_LC_NW_REG_REGISTERED_HOME && 
                     reg_status != LTE_LC_NW_REG_REGISTERED_ROAMING)) {
        LOG_INF("LTE network not ready yet (status %d). Waiting for LTE connection...", reg_status);
        
        // Clear any old semaphore states
        k_sem_reset(&lte_connected);
        
        // Wait for the lte_handler to signal a successful registration
        if (k_sem_take(&lte_connected, K_SECONDS(120)) != 0) {
            LOG_ERR("LTE connection timed out. Cannot connect MQTT.");
            return -ENETUNREACH;
        }
        LOG_INF("LTE re-attached successfully. Proceeding with MQTT connection.");
    }

    // Second part just reconnects to MQTT
    struct mqtt_helper_conn_params conn_params = {
        .hostname.ptr = CONFIG_MQTT_BROKER_HOSTNAME,
        .hostname.size = strlen(CONFIG_MQTT_BROKER_HOSTNAME),
        .device_id.ptr = (char *)client_id,
        .device_id.size = strlen(client_id),
    };
    
    err = mqtt_helper_connect(&conn_params);
    if (err) {
        LOG_ERR("Failed to trigger reconnect, err %d", err);
        return err;
    }

    LOG_INF("Waiting for reconnect confirmation...");
    if (k_sem_take(&mqtt_connected_sem, K_SECONDS(10)) != 0) {
        LOG_ERR("MQTT Reconnection timed out");
        return -ETIMEDOUT;
    }

    return 0;
}

static int lte_mqtt_publish_bootstrap(void)
{
    char payload[128];

    LOG_INF("Publishing bootstrap mqtt message.");

    int written = snprintf(payload, sizeof(payload),
                           "{\"security_code\":\"%s\",\"battery\":%d,\"status\":\"ok\"}",
                           CONFIG_MQTT_BOOTSTRAP_SECURITY_CODE,
                           CONFIG_MQTT_BOOTSTRAP_BATTERY);
    if (written < 0 || written >= sizeof(payload)) {
        LOG_ERR("Failed to format bootstrap MQTT payload");
        return -ENOMEM;
    }

    return lte_mqtt_publish_str(payload);
}

int lte_mqtt_publish_str(const char *payload)
{
    if (mqtt_ensure_connected() != 0) {
        return -ENOTCONN;
    }

    struct mqtt_publish_param mqtt_param = { 0 };

    mqtt_param.message.payload.data = (uint8_t *)payload;
    mqtt_param.message.payload.len = strlen(payload);
    mqtt_param.message.topic.qos = MQTT_QOS_1_AT_LEAST_ONCE;
    mqtt_param.message_id = mqtt_helper_msg_id_get();
    
    mqtt_param.message.topic.topic.utf8 = (uint8_t *)CONFIG_MQTT_PUB_TOPIC;
    mqtt_param.message.topic.topic.size = strlen(CONFIG_MQTT_PUB_TOPIC);

    int err = mqtt_helper_publish(&mqtt_param);
    if (err) {
        LOG_WRN("Failed to send payload, err: %d", err);
        return err;
    }

    LOG_INF("Successfully published: %s", payload);
    return 0;
}

// The function that we call from main to setup all network communications
int lte_mqtt_init(void)
{
    int err;

    LOG_INF("Initializing modem library...");
    err = nrf_modem_lib_init();
    if (err) return err;
    
    LOG_INF("Connecting to LTE network...");
    err = lte_lc_connect_async(lte_handler);                        
    if (err) return err;

    /* Wait for LTE to connect */
    k_sem_take(&lte_connected, K_FOREVER);                          
    LOG_INF("Connected to LTE network!");

    // K_SEM_DEFINE(mqtt_connected_sem, 0, 1);

    struct mqtt_helper_cfg config = {
        .cb = {
            .on_connack = on_mqtt_connack,
            .on_disconnect = on_mqtt_disconnect,
            .on_publish = on_mqtt_publish,
        },
    };
    err = mqtt_helper_init(&config);
    if (err) return err;

    struct mqtt_helper_conn_params conn_params = {
        .hostname.ptr = CONFIG_MQTT_BROKER_HOSTNAME,
        .hostname.size = strlen(CONFIG_MQTT_BROKER_HOSTNAME),
        .device_id.ptr = (char *)client_id,
        .device_id.size = strlen(client_id),
    };
    
    LOG_INF("Connecting to Azure MQTT Broker...");
    err = mqtt_helper_connect(&conn_params);
    if (err) return err;

    /* Wait for MQTT connection */
    LOG_INF("Waiting for initial MQTT connection...");
    
    // Give MQTT time to establish the handshake before we start bombing it with data
    if (k_sem_take(&mqtt_connected_sem, K_SECONDS(20)) != 0) {
        LOG_ERR("Initial MQTT connection failed!");
        return -ETIMEDOUT;
    }

    // Subscribing to the response topic 
    LOG_INF("Subscribing to MQTT topic: %s", CONFIG_MQTT_SUB_TOPIC);
    err = mqtt_helper_subscribe(&sub_list);
    if (err) {
        LOG_ERR("Failed to subscribe, err %d", err);
    return err;
    }

    if (!bootstrap_message_sent) {
        err = lte_mqtt_publish_bootstrap();
        if (err) {
            LOG_ERR("Failed to publish bootstrap MQTT payload: %d", err);
            return err;
        }

        bootstrap_message_sent = true;
    }
    
    return 0;
}
```

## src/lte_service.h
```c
#ifndef LTE_SERVICE_H
#define LTE_SERVICE_H

#include <stdint.h>

/* Initializes the modem, connects to LTE, and connects to Azure MQTT */
int lte_mqtt_init(void);

/* Publishes a raw string payload to the Azure MQTT broker */
int lte_mqtt_publish_str(const char *payload);

#endif /* LTE_SERVICE_H */
```
